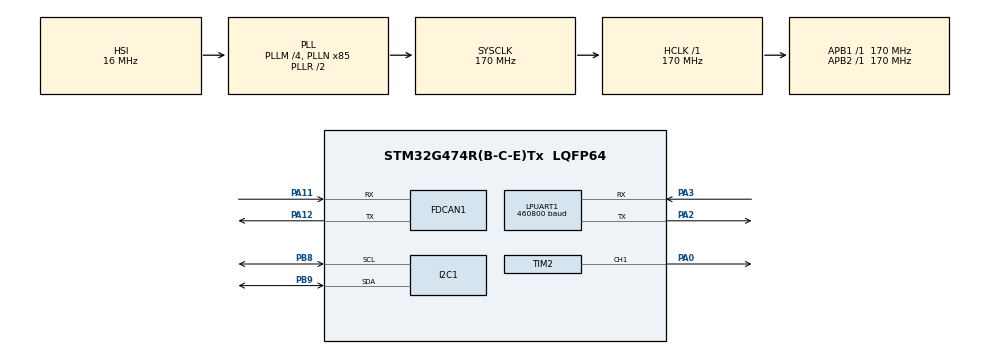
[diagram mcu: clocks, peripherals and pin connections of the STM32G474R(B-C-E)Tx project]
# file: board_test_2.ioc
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Dma.I2C1_RX.0.Direction=DMA_PERIPH_TO_MEMORY
Dma.I2C1_RX.0.EventEnable=DISABLE
Dma.I2C1_RX.0.Instance=DMA1_Channel1
Dma.I2C1_RX.0.MemDataAlignment=DMA_MDATAALIGN_BYTE
Dma.I2C1_RX.0.MemInc=DMA_MINC_ENABLE
Dma.I2C1_RX.0.Mode=DMA_NORMAL
Dma.I2C1_RX.0.PeriphDataAlignment=DMA_PDATAALIGN_BYTE
Dma.I2C1_RX.0.PeriphInc=DMA_PINC_DISABLE
Dma.I2C1_RX.0.Polarity=HAL_DMAMUX_REQ_GEN_RISING
Dma.I2C1_RX.0.Priority=DMA_PRIORITY_MEDIUM
Dma.I2C1_RX.0.RequestNumber=1
Dma.I2C1_RX.0.SignalID=NONE
Dma.I2C1_RX.0.SyncEnable=DISABLE
Dma.I2C1_RX.0.SyncPolarity=HAL_DMAMUX_SYNC_NO_EVENT
Dma.I2C1_RX.0.SyncRequestNumber=1
Dma.I2C1_RX.0.SyncSignalID=NONE
Dma.LPUART1_TX.1.Direction=DMA_MEMORY_TO_PERIPH
Dma.LPUART1_TX.1.EventEnable=DISABLE
Dma.LPUART1_TX.1.Instance=DMA1_Channel2
Dma.LPUART1_TX.1.MemDataAlignment=DMA_MDATAALIGN_BYTE
Dma.LPUART1_TX.1.MemInc=DMA_MINC_ENABLE
Dma.LPUART1_TX.1.Mode=DMA_NORMAL
Dma.LPUART1_TX.1.PeriphDataAlignment=DMA_PDATAALIGN_BYTE
Dma.LPUART1_TX.1.PeriphInc=DMA_PINC_DISABLE
Dma.LPUART1_TX.1.Polarity=HAL_DMAMUX_REQ_GEN_RISING
Dma.LPUART1_TX.1.Priority=DMA_PRIORITY_LOW
Dma.LPUART1_TX.1.RequestNumber=1
Dma.LPUART1_TX.1.SignalID=NONE
Dma.LPUART1_TX.1.SyncEnable=DISABLE
Dma.LPUART1_TX.1.SyncPolarity=HAL_DMAMUX_SYNC_NO_EVENT
Dma.LPUART1_TX.1.SyncRequestNumber=1
Dma.LPUART1_TX.1.SyncSignalID=NONE
Dma.Request0=I2C1_RX
Dma.Request1=LPUART1_TX
FDCAN1.AutoRetransmission=ENABLE
FDCAN1.CalculateBaudRateNominal=499999
FDCAN1.CalculateTimeBitNominal=2000
FDCAN1.CalculateTimeQuantumNominal=117.64705882352942
FDCAN1.DataPrescaler=20
FDCAN1.DataTimeSeg1=13
FDCAN1.ExtFiltersNbr=1
FDCAN1.Mode=FDCAN_MODE_NORMAL
FDCAN1.NominalPrescaler=20
FDCAN1.NominalTimeSeg1=13
FDCAN1.NominalTimeSeg2=3
FDCAN1.StdFiltersNbr=1
I2C1.Timing=0x40B285C2
LPUART1.BaudRate=460800
Mcu.Family=STM32G4
Mcu.Name=STM32G474R(B-C-E)Tx
Mcu.Package=LQFP64
NUCLEO-G474RE.BUTTON=1
NUCLEO-G474RE.Bsp_Common_DEMO=true
NUCLEO-G474RE.LD2=true
NUCLEO-G474RE.VCP=false
NVIC.DMA1_Channel1_IRQn=true\:0\:0\:false\:false\:true\:false\:true\:true
NVIC.DMA1_Channel2_IRQn=true\:0\:0\:false\:false\:true\:false\:true\:true
NVIC.EXTI15_10_IRQn=true\:0\:0\:false\:false\:true\:false\:true\:true
NVIC.FDCAN1_IT0_IRQn=true\:0\:0\:false\:false\:true\:true\:true\:true
NVIC.I2C1_ER_IRQn=true\:0\:0\:false\:false\:true\:true\:true\:true
NVIC.I2C1_EV_IRQn=true\:0\:0\:false\:false\:true\:true\:true\:true
NVIC.LPUART1_IRQn=true\:0\:0\:false\:false\:true\:true\:true\:true
NVIC.PriorityGroup=NVIC_PRIORITYGROUP_4
NVIC.TIM6_DAC_IRQn=true\:0\:0\:false\:false\:true\:true\:true\:true
NVIC.TIM7_DAC_IRQn=true\:0\:0\:false\:false\:true\:true\:true\:true
PA0.Signal=S_TIM2_CH1
PA11.Mode=FDCAN_Activate
PA11.Signal=FDCAN1_RX
PA12.Mode=FDCAN_Activate
PA12.Signal=FDCAN1_TX
PA13.GPIO_Label=T_SWDIO
PA13.Signal=SYS_JTMS-SWDIO
PA14.GPIO_Label=T_SWCLK
PA14.Signal=SYS_JTCK-SWCLK
PA2.Mode=Asynchronous
PA2.Signal=LPUART1_TX
PA3.Mode=Asynchronous
PA3.Signal=LPUART1_RX
PB3.GPIO_Label=T_SWO
PB3.Signal=SYS_JTDO-SWO
PB8-BOOT0.Mode=I2C
PB8-BOOT0.Signal=I2C1_SCL
PB9.Mode=I2C
PB9.Signal=I2C1_SDA
PC14-OSC32_IN.GPIO_Label=RCC_OSC32_IN
PC14-OSC32_IN.Signal=RCC_OSC32_IN
PC15-OSC32_OUT.GPIO_Label=RCC_OSC32_OUT
PC15-OSC32_OUT.Signal=RCC_OSC32_OUT
PF0-OSC_IN.GPIO_Label=RCC_OSC_IN
PF0-OSC_IN.Signal=RCC_OSC_IN
PF1-OSC_OUT.GPIO_Label=RCC_OSC_OUT
PF1-OSC_OUT.Signal=RCC_OSC_OUT
ProjectManager.HeapSize=0x200
ProjectManager.StackSize=0x400
ProjectManager.TargetToolchain=STM32CubeIDE
RCC.ADC12Freq_Value=170000000
RCC.ADC345Freq_Value=170000000
RCC.AHBFreq_Value=170000000
RCC.APB1Freq_Value=170000000
RCC.APB1TimFreq_Value=170000000
RCC.APB2Freq_Value=170000000
RCC.APB2TimFreq_Value=170000000
RCC.CortexFreq_Value=170000000
RCC.EXTERNAL_CLOCK_VALUE=12288000
RCC.HCLKFreq_Value=170000000
RCC.HSE_VALUE=24000000
RCC.HSI48_VALUE=48000000
RCC.HSI_VALUE=16000000
RCC.LSE_VALUE=32768
RCC.PLLM=RCC_PLLM_DIV4
RCC.PLLN=85
RCC.RTCClockSelection=RCC_RTCCLKSOURCE_LSE
RCC.SYSCLKFreq_VALUE=170000000
RCC.SYSCLKSource=RCC_SYSCLKSOURCE_PLLCLK
RCC.USBFreq_Value=170000000
RCC.VCOOutputFreq_Value=340000000
SH.S_TIM2_CH1.0=TIM2_CH1,PWM Generation1 CH1
TIM2.Channel-PWM\ Generation1\ CH1=TIM_CHANNEL_1
TIM2.PeriodNoDither=19999
TIM2.Prescaler=169
TIM6.PeriodNoDither=499
TIM6.Prescaler=16999
TIM7.PeriodNoDither=199
TIM7.Prescaler=16999
VP_NUCLEO-G474RE_VS_BSP_COMMON.Mode=COMMON
VP_SYS_VS_DBSignals.Mode=DisableDeadBatterySignals
VP_TIM2_VS_ClockSourceINT.Mode=Internal
VP_TIM6_VS_ClockSourceINT.Mode=Enable_Timer
VP_TIM7_VS_ClockSourceINT.Mode=Enable_Timer
board=NUCLEO-G474RE

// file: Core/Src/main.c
/* USER CODE BEGIN Header */
/**
  ******************************************************************************
  * @file           : main.c
  * @brief          : Main program body
  ******************************************************************************
  * @attention
  *
  * Copyright (c) 2026 STMicroelectronics.
  * All rights reserved.
  *
  * This software is licensed under terms that can be found in the LICENSE file
  * in the root directory of this software component.
  * If no LICENSE file comes with this software, it is provided AS-IS.
  *
  ******************************************************************************
  */
/* USER CODE END Header */
#include "main.h"

/* USER CODE BEGIN Includes */
#include <stdio.h>
#include "app_types.h"
#include "debug_utils.h"
#include "servo.h"
#include "imu.h"
#include "wing_control.h"
#include "obd.h"
#include "motion_fx_app.h"
#include "diag_log.h"
#include "app_config.h"
#include "lap_sim.h"
#include "uart_log.h"
/* USER CODE END Includes */

/* USER CODE BEGIN PD */
#define SPEED_REQUEST_PERIOD_MS 50U
/* USER CODE END PD */

__IO uint32_t BspButtonState = BUTTON_RELEASED;
FDCAN_HandleTypeDef hfdcan1;

I2C_HandleTypeDef hi2c1;
DMA_HandleTypeDef hdma_i2c1_rx;

UART_HandleTypeDef hlpuart1;
DMA_HandleTypeDef hdma_lpuart1_tx;

TIM_HandleTypeDef htim2;
TIM_HandleTypeDef htim6;
TIM_HandleTypeDef htim7;

/* USER CODE BEGIN PV */
#if !APP_LAP_SIM_ENABLED
static volatile uint8_t obd_request_due = 0U;
#endif
/* USER CODE END PV */

void SystemClock_Config(void);
static void MX_GPIO_Init(void);
static void MX_DMA_Init(void);
static void MX_FDCAN1_Init(void);
static void MX_TIM2_Init(void);
static void MX_I2C1_Init(void);
static void MX_TIM6_Init(void);
static void MX_TIM7_Init(void);
static void MX_LPUART1_UART_Init(void);

int main(void)
{

  /* MCU Configuration--------------------------------------------------------*/

  /* Reset of all peripherals, Initializes the Flash interface and the Systick. */
  HAL_Init();

  /* Configure the system clock */
  SystemClock_Config();

  /* Initialize all configured peripherals */
  MX_GPIO_Init();
  MX_DMA_Init();
  MX_FDCAN1_Init();
  MX_TIM2_Init();
  MX_I2C1_Init();
  MX_TIM6_Init();
  MX_TIM7_Init();
  MX_LPUART1_UART_Init();
  /* USER CODE BEGIN 2 */
  UARTLog_Init();

  /* USER CODE END 2 */

  /* Initialize led */
  BSP_LED_Init(LED_GREEN);

  /* Initialize USER push-button, will be used to trigger an interrupt each time it's pressed.*/
  BSP_PB_Init(BUTTON_USER, BUTTON_MODE_EXTI);

  /* USER CODE BEGIN BSP */

  /* -- Sample board code to send message over COM1 port ---- */
  printf("Welcome to STM32 world !\n\r");

#if !APP_LAP_SIM_ENABLED
  CAN_Test_Init();
#endif

  if (HAL_TIM_Base_Start_IT(&htim6) != HAL_OK)
  {
      Error_Handler();
  }

  if (HAL_TIM_Base_Start_IT(&htim7) != HAL_OK)
  {
      Error_Handler();
  }

  if (HAL_TIM_PWM_Start(&htim2, TIM_CHANNEL_1) != HAL_OK)
  {
    Error_Handler();
  }

  Servo_SetWingState(WING_NORMAL);

  printf("Servo PWM ready: NORMAL\r\n");

  /* -- Sample board code to switch on led ---- */
  BSP_LED_On(LED_GREEN);

  uint8_t imu_ok = LSM6DSO_Init();

  if (imu_ok)
  {
    printf("IMU init OK\r\n");
  }
  else
  {
    printf("IMU init FAILED\r\n");
  }

  if (imu_ok)
  {
      if (MotionFxApp_Init() != 0U)
      {
          printf("MotionFX diagnostic ready\r\n");
      }
  }
#if APP_LAP_SIM_ENABLED
  BspButtonState = BUTTON_RELEASED;
  LapSim_Init();
#endif
  /* USER CODE END BSP */

  /* Infinite loop */
  /* USER CODE BEGIN WHILE */
  while (1)
  {

#if APP_LAP_SIM_ENABLED
      if (BspButtonState == BUTTON_PRESSED)
      {
          BspButtonState = BUTTON_RELEASED;
          LapSim_Start();
      }
      LapSim_Task();
#else
      Control_CheckDataFreshness();
#endif
      IMU_Task();

#if !APP_LAP_SIM_ENABLED
      if (IMU_TakeCornerDetectedEvent())
      {
          Control_ForceNormalForCorner();
      }

      CAN_Process_Rx();

      if (obd_request_due)
      {
          obd_request_due = 0U;

          CAN_Check_OBD_RequestTimeout();

          if (!CAN_Is_OBD_RequestPending())
          {
              BSP_LED_Toggle(LED_GREEN);

              CAN_Send_OBD_Request(0x0D);
          }
      }

#endif
      Control_Task();
      DiagLog_Task();
      UARTLog_Task();

      __WFI();
    /* USER CODE END WHILE */

  }
}

void SystemClock_Config(void)
{
  RCC_OscInitTypeDef RCC_OscInitStruct = {0};
  RCC_ClkInitTypeDef RCC_ClkInitStruct = {0};

  /** Configure the main internal regulator output voltage
  */
  HAL_PWREx_ControlVoltageScaling(PWR_REGULATOR_VOLTAGE_SCALE1_BOOST);

  /** Initializes the RCC Oscillators according to the specified parameters
  * in the RCC_OscInitTypeDef structure.
  */
  RCC_OscInitStruct.OscillatorType = RCC_OSCILLATORTYPE_HSI;
  RCC_OscInitStruct.HSIState = RCC_HSI_ON;
  RCC_OscInitStruct.HSICalibrationValue = RCC_HSICALIBRATION_DEFAULT;
  RCC_OscInitStruct.PLL.PLLState = RCC_PLL_ON;
  RCC_OscInitStruct.PLL.PLLSource = RCC_PLLSOURCE_HSI;
  RCC_OscInitStruct.PLL.PLLM = RCC_PLLM_DIV4;
  RCC_OscInitStruct.PLL.PLLN = 85;
  RCC_OscInitStruct.PLL.PLLP = RCC_PLLP_DIV2;
  RCC_OscInitStruct.PLL.PLLQ = RCC_PLLQ_DIV2;
  RCC_OscInitStruct.PLL.PLLR = RCC_PLLR_DIV2;
  if (HAL_RCC_OscConfig(&RCC_OscInitStruct) != HAL_OK)
  {
    Error_Handler();
  }

  /** Initializes the CPU, AHB and APB buses clocks
  */
  RCC_ClkInitStruct.ClockType = RCC_CLOCKTYPE_HCLK|RCC_CLOCKTYPE_SYSCLK
                              |RCC_CLOCKTYPE_PCLK1|RCC_CLOCKTYPE_PCLK2;
  RCC_ClkInitStruct.SYSCLKSource = RCC_SYSCLKSOURCE_PLLCLK;
  RCC_ClkInitStruct.AHBCLKDivider = RCC_SYSCLK_DIV1;
  RCC_ClkInitStruct.APB1CLKDivider = RCC_HCLK_DIV1;
  RCC_ClkInitStruct.APB2CLKDivider = RCC_HCLK_DIV1;

  if (HAL_RCC_ClockConfig(&RCC_ClkInitStruct, FLASH_LATENCY_4) != HAL_OK)
  {
    Error_Handler();
  }
}

static void MX_FDCAN1_Init(void)
{

  hfdcan1.Instance = FDCAN1;
  hfdcan1.Init.ClockDivider = FDCAN_CLOCK_DIV1;
  hfdcan1.Init.FrameFormat = FDCAN_FRAME_CLASSIC;
  hfdcan1.Init.Mode = FDCAN_MODE_NORMAL;
  hfdcan1.Init.AutoRetransmission = ENABLE;
  hfdcan1.Init.TransmitPause = DISABLE;
  hfdcan1.Init.ProtocolException = DISABLE;
  hfdcan1.Init.NominalPrescaler = 20;
  hfdcan1.Init.NominalSyncJumpWidth = 1;
  hfdcan1.Init.NominalTimeSeg1 = 13;
  hfdcan1.Init.NominalTimeSeg2 = 3;
  hfdcan1.Init.DataPrescaler = 20;
  hfdcan1.Init.DataSyncJumpWidth = 1;
  hfdcan1.Init.DataTimeSeg1 = 13;
  hfdcan1.Init.DataTimeSeg2 = 1;
  hfdcan1.Init.StdFiltersNbr = 1;
  hfdcan1.Init.ExtFiltersNbr = 1;
  hfdcan1.Init.TxFifoQueueMode = FDCAN_TX_FIFO_OPERATION;
  if (HAL_FDCAN_Init(&hfdcan1) != HAL_OK)
  {
    Error_Handler();
  }

}

static void MX_I2C1_Init(void)
{

  hi2c1.Instance = I2C1;
  hi2c1.Init.Timing = 0x40B285C2;
  hi2c1.Init.OwnAddress1 = 0;
  hi2c1.Init.AddressingMode = I2C_ADDRESSINGMODE_7BIT;
  hi2c1.Init.DualAddressMode = I2C_DUALADDRESS_DISABLE;
  hi2c1.Init.OwnAddress2 = 0;
  hi2c1.Init.OwnAddress2Masks = I2C_OA2_NOMASK;
  hi2c1.Init.GeneralCallMode = I2C_GENERALCALL_DISABLE;
  hi2c1.Init.NoStretchMode = I2C_NOSTRETCH_DISABLE;
  if (HAL_I2C_Init(&hi2c1) != HAL_OK)
  {
    Error_Handler();
  }

  /** Configure Analogue filter
  */
  if (HAL_I2CEx_ConfigAnalogFilter(&hi2c1, I2C_ANALOGFILTER_ENABLE) != HAL_OK)
  {
    Error_Handler();
  }

  /** Configure Digital filter
  */
  if (HAL_I2CEx_ConfigDigitalFilter(&hi2c1, 0) != HAL_OK)
  {
    Error_Handler();
  }

}

static void MX_LPUART1_UART_Init(void)
{

  hlpuart1.Instance = LPUART1;
  hlpuart1.Init.BaudRate = 460800;
  hlpuart1.Init.WordLength = UART_WORDLENGTH_8B;
  hlpuart1.Init.StopBits = UART_STOPBITS_1;
  hlpuart1.Init.Parity = UART_PARITY_NONE;
  hlpuart1.Init.Mode = UART_MODE_TX_RX;
  hlpuart1.Init.HwFlowCtl = UART_HWCONTROL_NONE;
  hlpuart1.Init.OneBitSampling = UART_ONE_BIT_SAMPLE_DISABLE;
  hlpuart1.Init.ClockPrescaler = UART_PRESCALER_DIV1;
  hlpuart1.AdvancedInit.AdvFeatureInit = UART_ADVFEATURE_NO_INIT;
  if (HAL_UART_Init(&hlpuart1) != HAL_OK)
  {
    Error_Handler();
  }
  if (HAL_UARTEx_SetTxFifoThreshold(&hlpuart1, UART_TXFIFO_THRESHOLD_1_8) != HAL_OK)
  {
    Error_Handler();
  }
  if (HAL_UARTEx_SetRxFifoThreshold(&hlpuart1, UART_RXFIFO_THRESHOLD_1_8) != HAL_OK)
  {
    Error_Handler();
  }
  if (HAL_UARTEx_DisableFifoMode(&hlpuart1) != HAL_OK)
  {
    Error_Handler();
  }

}

static void MX_TIM2_Init(void)
{

  TIM_ClockConfigTypeDef sClockSourceConfig = {0};
  TIM_MasterConfigTypeDef sMasterConfig = {0};
  TIM_OC_InitTypeDef sConfigOC = {0};

  htim2.Instance = TIM2;
  htim2.Init.Prescaler = 169;
  htim2.Init.CounterMode = TIM_COUNTERMODE_UP;
  htim2.Init.Period = 19999;
  htim2.Init.ClockDivision = TIM_CLOCKDIVISION_DIV1;
  htim2.Init.AutoReloadPreload = TIM_AUTORELOAD_PRELOAD_DISABLE;
  if (HAL_TIM_Base_Init(&htim2) != HAL_OK)
  {
    Error_Handler();
  }
  sClockSourceConfig.ClockSource = TIM_CLOCKSOURCE_INTERNAL;
  if (HAL_TIM_ConfigClockSource(&htim2, &sClockSourceConfig) != HAL_OK)
  {
    Error_Handler();
  }
  if (HAL_TIM_PWM_Init(&htim2) != HAL_OK)
  {
    Error_Handler();
  }
  sMasterConfig.MasterOutputTrigger = TIM_TRGO_RESET;
  sMasterConfig.MasterSlaveMode = TIM_MASTERSLAVEMODE_DISABLE;
  if (HAL_TIMEx_MasterConfigSynchronization(&htim2, &sMasterConfig) != HAL_OK)
  {
    Error_Handler();
  }
  sConfigOC.OCMode = TIM_OCMODE_PWM1;
  sConfigOC.Pulse = 0;
  sConfigOC.OCPolarity = TIM_OCPOLARITY_HIGH;
  sConfigOC.OCFastMode = TIM_OCFAST_DISABLE;
  if (HAL_TIM_PWM_ConfigChannel(&htim2, &sConfigOC, TIM_CHANNEL_1) != HAL_OK)
  {
    Error_Handler();
  }
  HAL_TIM_MspPostInit(&htim2);

}

static void MX_TIM6_Init(void)
{

  TIM_MasterConfigTypeDef sMasterConfig = {0};

  htim6.Instance = TIM6;
  htim6.Init.Prescaler = 16999;
  htim6.Init.CounterMode = TIM_COUNTERMODE_UP;
  htim6.Init.Period = 499;
  htim6.Init.AutoReloadPreload = TIM_AUTORELOAD_PRELOAD_DISABLE;
  if (HAL_TIM_Base_Init(&htim6) != HAL_OK)
  {
    Error_Handler();
  }
  sMasterConfig.MasterOutputTrigger = TIM_TRGO_RESET;
  sMasterConfig.MasterSlaveMode = TIM_MASTERSLAVEMODE_DISABLE;
  if (HAL_TIMEx_MasterConfigSynchronization(&htim6, &sMasterConfig) != HAL_OK)
  {
    Error_Handler();
  }

}

static void MX_TIM7_Init(void)
{

  TIM_MasterConfigTypeDef sMasterConfig = {0};

  htim7.Instance = TIM7;
  htim7.Init.Prescaler = 16999;
  htim7.Init.CounterMode = TIM_COUNTERMODE_UP;
  htim7.Init.Period = 199;
  htim7.Init.AutoReloadPreload = TIM_AUTORELOAD_PRELOAD_DISABLE;
  if (HAL_TIM_Base_Init(&htim7) != HAL_OK)
  {
    Error_Handler();
  }
  sMasterConfig.MasterOutputTrigger = TIM_TRGO_RESET;
  sMasterConfig.MasterSlaveMode = TIM_MASTERSLAVEMODE_DISABLE;
  if (HAL_TIMEx_MasterConfigSynchronization(&htim7, &sMasterConfig) != HAL_OK)
  {
    Error_Handler();
  }

}

static void MX_DMA_Init(void)
{

  /* DMA controller clock enable */
  __HAL_RCC_DMAMUX1_CLK_ENABLE();
  __HAL_RCC_DMA1_CLK_ENABLE();

  /* DMA interrupt init */
  /* DMA1_Channel1_IRQn interrupt configuration */
  HAL_NVIC_SetPriority(DMA1_Channel1_IRQn, 0, 0);
  HAL_NVIC_EnableIRQ(DMA1_Channel1_IRQn);
  /* DMA1_Channel2_IRQn interrupt configuration */
  HAL_NVIC_SetPriority(DMA1_Channel2_IRQn, 0, 0);
  HAL_NVIC_EnableIRQ(DMA1_Channel2_IRQn);

}

static void MX_GPIO_Init(void)
{

  /* GPIO Ports Clock Enable */
  __HAL_RCC_GPIOC_CLK_ENABLE();
  __HAL_RCC_GPIOF_CLK_ENABLE();
  __HAL_RCC_GPIOA_CLK_ENABLE();
  __HAL_RCC_GPIOB_CLK_ENABLE();

}

/* USER CODE BEGIN 4 */
void HAL_TIM_PeriodElapsedCallback(
    TIM_HandleTypeDef *htim)
{
    if (htim->Instance == TIM6)
    {
#if !APP_LAP_SIM_ENABLED
        obd_request_due = 1U;
#endif
    }

    else if (htim->Instance == TIM7)
    {
        IMU_RequestSample();
    }
}
/* USER CODE END 4 */

/**
  * @brief BSP Push Button callback
  * @param Button Specifies the pressed button
  * @retval None
  */
void BSP_PB_Callback(Button_TypeDef Button)
{
  if (Button == BUTTON_USER)
  {
    BspButtonState = BUTTON_PRESSED;
  }
}

void Error_Handler(void)
{
  __disable_irq();
  while (1)
  {
  }
}
